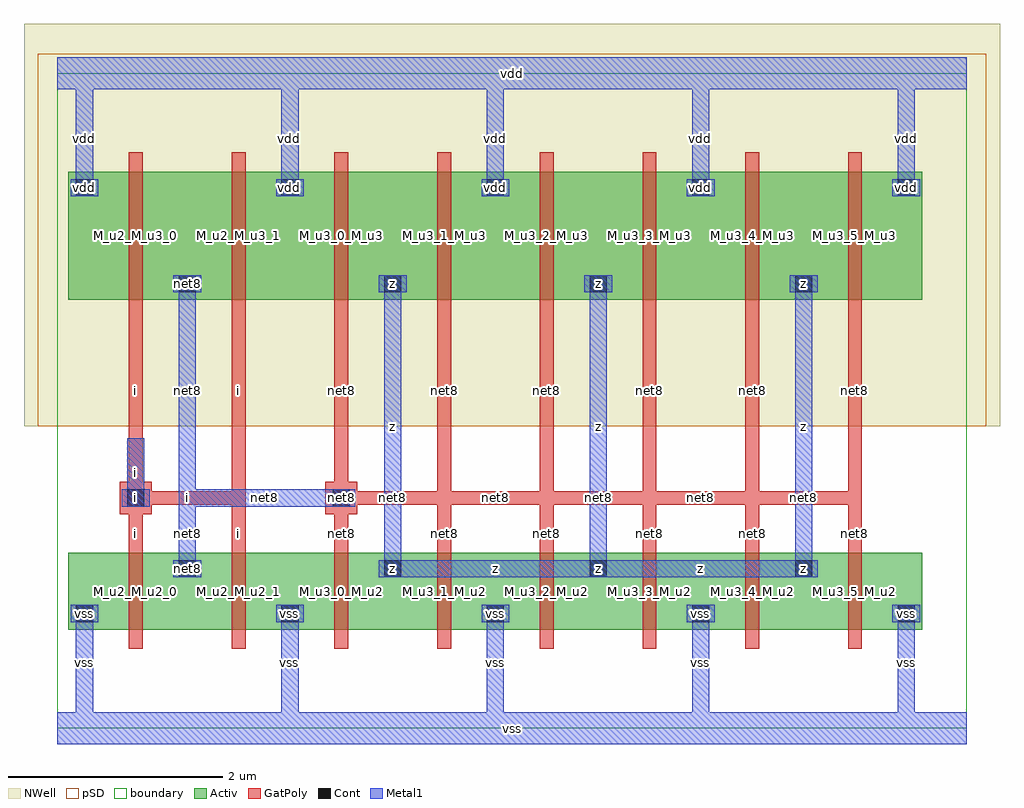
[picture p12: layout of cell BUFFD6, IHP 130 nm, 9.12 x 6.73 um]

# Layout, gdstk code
import gdstk
lib = gdstk.Library(unit=1e-6, precision=1e-09)
def R(c, l, rs):  # rectangles x0, y0, x1, y1
    for r in rs: c.add(gdstk.rectangle(r[:2], r[2:], *l))
def A(c, l, x, y, w, h, nx, ny, dx, dy):  # array of equal rectangles
    R(c, l, [(x+i*dx, y+j*dy, x+i*dx+w, y+j*dy+h) for i in range(nx) for j in range(ny)])
Activ = (1, 0)
GatPoly = (5, 0)
Cont = (6, 0)
Metal1 = (8, 0)
pSD = (14, 0)
NWell = (31, 0)
TEXT = (63, 0)
boundary = (189, 4)

buffd6 = lib.new_cell('BUFFD6')
A(buffd6, Activ, 0.105, 0.92, 1.26, 0.72, 8, 1, 0.96, 0)
A(buffd6, Activ, 0.105, 0.92, 0.3, 0.3, 5, 2, 1.92, 3.98)
A(buffd6, Activ, 1.065, 1.34, 0.3, 0.3, 4, 2, 1.92, 2.66)
A(buffd6, Activ, 0.105, 4, 1.26, 1.2, 8, 1, 0.96, 0)
A(buffd6, GatPoly, 0.67, 0.74, 0.13, 1.08, 8, 1, 0.96, 0)
A(buffd6, GatPoly, 0.67, 1.425, 0.13, 0.79, 8, 1, 0.96, 0)
A(buffd6, GatPoly, 0.67, 2.085, 0.13, 2.13, 8, 1, 0.96, 0)
A(buffd6, GatPoly, 2.59, 2.085, 1.09, 0.13, 5, 1, 0.96, 0)
A(buffd6, GatPoly, 0.67, 3.82, 0.13, 1.56, 8, 1, 0.96, 0)
R(buffd6, GatPoly, [(0.585,2,0.885,2.3), (2.505,2,2.805,2.3), (0.67,2.085,1.76,2.215)])
A(buffd6, Cont, 0.175, 0.99, 0.16, 0.16, 5, 2, 1.92, 3.98)
A(buffd6, Cont, 1.135, 1.41, 0.16, 0.16, 4, 2, 1.92, 2.66)
R(buffd6, Cont, [(0.655,2.07,0.815,2.23), (2.575,2.07,2.735,2.23)])
A(buffd6, Metal1, 0.175, 0.07, 0.16, 1.08, 5, 2, 1.92, 4.9)
A(buffd6, Metal1, 0.125, 0.99, 0.26, 0.16, 5, 2, 1.92, 3.98)
A(buffd6, Metal1, 1.085, 1.41, 0.26, 0.16, 4, 2, 1.92, 2.66)
A(buffd6, Metal1, 3.055, 1.41, 0.16, 2.82, 3, 1, 1.92, 0)
R(buffd6, Metal1, [(0,-0.15,8.5,0.15), (1.135,1.41,1.295,2.23), (3.055,1.41,5.135,1.57), (4.975,1.41,7.055,1.57), (0.605,2.07,0.865,2.23), (0.655,2.07,0.815,2.71), (1.135,2.07,2.735,2.23), (1.135,2.07,1.295,4.23), (2.525,2.07,2.785,2.23), (0,5.97,8.5,6.27)])
R(buffd6, pSD, [(-0.18,2.82,8.68,5.94), (-0.18,5.94,8.68,6.3)])
R(buffd6, NWell, [(-0.31,2.82,8.81,6.58)])
R(buffd6, boundary, [(0,0,8.5,6.12)])
buffd6.add(gdstk.FlexPath([(0.105,0.41),(8.085,0.41)], 0, ends="flush", simple_path=True, layer=63, datatype=0))  # TEXT
buffd6.add(gdstk.FlexPath([(0.105,1.07),(8.085,1.07)], 0, ends="flush", simple_path=True, layer=63, datatype=0))  # TEXT
buffd6.add(gdstk.FlexPath([(0.105,1.49),(8.085,1.49)], 0, ends="flush", simple_path=True, layer=63, datatype=0))  # TEXT
buffd6.add(gdstk.FlexPath([(0.105,2.15),(8.085,2.15)], 0, ends="flush", simple_path=True, layer=63, datatype=0))  # TEXT
buffd6.add(gdstk.FlexPath([(0.105,2.63),(8.085,2.63)], 0, ends="flush", simple_path=True, layer=63, datatype=0))  # TEXT
buffd6.add(gdstk.FlexPath([(0.105,3.11),(8.085,3.11)], 0, ends="flush", simple_path=True, layer=63, datatype=0))  # TEXT
buffd6.add(gdstk.FlexPath([(0.105,4.15),(8.085,4.15)], 0, ends="flush", simple_path=True, layer=63, datatype=0))  # TEXT
buffd6.add(gdstk.FlexPath([(0.105,4.71),(8.085,4.71)], 0, ends="flush", simple_path=True, layer=63, datatype=0))  # TEXT
buffd6.add(gdstk.FlexPath([(0.105,5.05),(8.085,5.05)], 0, ends="flush", simple_path=True, layer=63, datatype=0))  # TEXT
buffd6.add(gdstk.FlexPath([(0.105,5.71),(8.085,5.71)], 0, ends="flush", simple_path=True, layer=63, datatype=0))  # TEXT
buffd6.add(gdstk.FlexPath([(0.255,0.07),(0.255,6.05)], 0, ends="flush", simple_path=True, layer=63, datatype=0))  # TEXT
buffd6.add(gdstk.FlexPath([(0.735,0.07),(0.735,6.05)], 0, ends="flush", simple_path=True, layer=63, datatype=0))  # TEXT
buffd6.add(gdstk.FlexPath([(1.215,0.07),(1.215,6.05)], 0, ends="flush", simple_path=True, layer=63, datatype=0))  # TEXT
buffd6.add(gdstk.FlexPath([(1.695,0.07),(1.695,6.05)], 0, ends="flush", simple_path=True, layer=63, datatype=0))  # TEXT
buffd6.add(gdstk.FlexPath([(2.175,0.07),(2.175,6.05)], 0, ends="flush", simple_path=True, layer=63, datatype=0))  # TEXT
buffd6.add(gdstk.FlexPath([(2.655,0.07),(2.655,6.05)], 0, ends="flush", simple_path=True, layer=63, datatype=0))  # TEXT
buffd6.add(gdstk.FlexPath([(3.135,0.07),(3.135,6.05)], 0, ends="flush", simple_path=True, layer=63, datatype=0))  # TEXT
buffd6.add(gdstk.FlexPath([(3.615,0.07),(3.615,6.05)], 0, ends="flush", simple_path=True, layer=63, datatype=0))  # TEXT
buffd6.add(gdstk.FlexPath([(4.095,0.07),(4.095,6.05)], 0, ends="flush", simple_path=True, layer=63, datatype=0))  # TEXT
buffd6.add(gdstk.FlexPath([(4.575,0.07),(4.575,6.05)], 0, ends="flush", simple_path=True, layer=63, datatype=0))  # TEXT
buffd6.add(gdstk.FlexPath([(5.055,0.07),(5.055,6.05)], 0, ends="flush", simple_path=True, layer=63, datatype=0))  # TEXT
buffd6.add(gdstk.FlexPath([(5.535,0.07),(5.535,6.05)], 0, ends="flush", simple_path=True, layer=63, datatype=0))  # TEXT
buffd6.add(gdstk.FlexPath([(6.015,0.07),(6.015,6.05)], 0, ends="flush", simple_path=True, layer=63, datatype=0))  # TEXT
buffd6.add(gdstk.FlexPath([(6.495,0.07),(6.495,6.05)], 0, ends="flush", simple_path=True, layer=63, datatype=0))  # TEXT
buffd6.add(gdstk.FlexPath([(6.975,0.07),(6.975,6.05)], 0, ends="flush", simple_path=True, layer=63, datatype=0))  # TEXT
buffd6.add(gdstk.FlexPath([(7.455,0.07),(7.455,6.05)], 0, ends="flush", simple_path=True, layer=63, datatype=0))  # TEXT
buffd6.add(gdstk.FlexPath([(7.935,0.07),(7.935,6.05)], 0, ends="flush", simple_path=True, layer=63, datatype=0))  # TEXT
buffd6.add(gdstk.Label('net8', (1.215,1.49), layer=6, texttype=0))
buffd6.add(gdstk.Label('net8', (1.215,4.15), layer=6, texttype=0))
buffd6.add(gdstk.Label('net8', (2.655,2.15), layer=6, texttype=0))
buffd6.add(gdstk.Label('i', (0.735,2.15), layer=6, texttype=0))
buffd6.add(gdstk.Label('z', (3.135,1.49), layer=6, texttype=0))
buffd6.add(gdstk.Label('z', (5.055,1.49), layer=6, texttype=0))
buffd6.add(gdstk.Label('z', (6.975,1.49), layer=6, texttype=0))
buffd6.add(gdstk.Label('z', (3.135,4.15), layer=6, texttype=0))
buffd6.add(gdstk.Label('z', (5.055,4.15), layer=6, texttype=0))
buffd6.add(gdstk.Label('z', (6.975,4.15), layer=6, texttype=0))
buffd6.add(gdstk.Label('vss', (0.255,1.07), layer=6, texttype=0))
buffd6.add(gdstk.Label('vss', (2.175,1.07), layer=6, texttype=0))
buffd6.add(gdstk.Label('vss', (4.095,1.07), layer=6, texttype=0))
buffd6.add(gdstk.Label('vss', (6.015,1.07), layer=6, texttype=0))
buffd6.add(gdstk.Label('vss', (7.935,1.07), layer=6, texttype=0))
buffd6.add(gdstk.Label('vdd', (0.255,5.05), layer=6, texttype=0))
buffd6.add(gdstk.Label('vdd', (2.175,5.05), layer=6, texttype=0))
buffd6.add(gdstk.Label('vdd', (4.095,5.05), layer=6, texttype=0))
buffd6.add(gdstk.Label('vdd', (6.015,5.05), layer=6, texttype=0))
buffd6.add(gdstk.Label('vdd', (7.935,5.05), layer=6, texttype=0))
buffd6.add(gdstk.Label('net8', (1.215,1.49), layer=8, texttype=0))
buffd6.add(gdstk.Label('net8', (1.215,4.15), layer=8, texttype=0))
buffd6.add(gdstk.Label('net8', (1.215,1.82), layer=8, texttype=0))
buffd6.add(gdstk.Label('net8', (1.935,2.15), layer=8, texttype=0))
buffd6.add(gdstk.Label('net8', (2.655,2.15), layer=8, texttype=0))
buffd6.add(gdstk.Label('net8', (1.215,3.15), layer=8, texttype=0))
buffd6.add(gdstk.Label('vss', (0.255,1.07), layer=8, texttype=0))
buffd6.add(gdstk.Label('vss', (0.255,0.61), layer=8, texttype=0))
buffd6.add(gdstk.Label('vss', (2.175,1.07), layer=8, texttype=0))
buffd6.add(gdstk.Label('vss', (2.175,0.61), layer=8, texttype=0))
buffd6.add(gdstk.Label('vss', (4.095,1.07), layer=8, texttype=0))
buffd6.add(gdstk.Label('vss', (4.095,0.61), layer=8, texttype=0))
buffd6.add(gdstk.Label('vss', (6.015,1.07), layer=8, texttype=0))
buffd6.add(gdstk.Label('vss', (6.015,0.61), layer=8, texttype=0))
buffd6.add(gdstk.Label('vss', (7.935,1.07), layer=8, texttype=0))
buffd6.add(gdstk.Label('vss', (7.935,0.61), layer=8, texttype=0))
buffd6.add(gdstk.Label('vdd', (0.255,5.05), layer=8, texttype=0))
buffd6.add(gdstk.Label('vdd', (0.255,5.51), layer=8, texttype=0))
buffd6.add(gdstk.Label('vdd', (2.175,5.05), layer=8, texttype=0))
buffd6.add(gdstk.Label('vdd', (2.175,5.51), layer=8, texttype=0))
buffd6.add(gdstk.Label('vdd', (4.095,5.05), layer=8, texttype=0))
buffd6.add(gdstk.Label('vdd', (4.095,5.51), layer=8, texttype=0))
buffd6.add(gdstk.Label('vdd', (6.015,5.05), layer=8, texttype=0))
buffd6.add(gdstk.Label('vdd', (6.015,5.51), layer=8, texttype=0))
buffd6.add(gdstk.Label('vdd', (7.935,5.05), layer=8, texttype=0))
buffd6.add(gdstk.Label('vdd', (7.935,5.51), layer=8, texttype=0))
buffd6.add(gdstk.Label('i', (0.735,2.15), layer=8, texttype=2))
buffd6.add(gdstk.Label('i', (0.735,2.39), layer=8, texttype=2))
buffd6.add(gdstk.Label('z', (3.135,1.49), layer=8, texttype=2))
buffd6.add(gdstk.Label('z', (5.055,1.49), layer=8, texttype=2))
buffd6.add(gdstk.Label('z', (6.975,1.49), layer=8, texttype=2))
buffd6.add(gdstk.Label('z', (3.135,4.15), layer=8, texttype=2))
buffd6.add(gdstk.Label('z', (5.055,4.15), layer=8, texttype=2))
buffd6.add(gdstk.Label('z', (6.975,4.15), layer=8, texttype=2))
buffd6.add(gdstk.Label('z', (4.095,1.49), layer=8, texttype=2))
buffd6.add(gdstk.Label('z', (6.015,1.49), layer=8, texttype=2))
buffd6.add(gdstk.Label('z', (3.135,2.82), layer=8, texttype=2))
buffd6.add(gdstk.Label('z', (5.055,2.82), layer=8, texttype=2))
buffd6.add(gdstk.Label('z', (6.975,2.82), layer=8, texttype=2))
buffd6.add(gdstk.Label('vss', (4.25,0), layer=8, texttype=2))
buffd6.add(gdstk.Label('vdd', (4.25,6.12), layer=8, texttype=2))
buffd6.add(gdstk.Label('i', (0.735,2.15), layer=8, texttype=2))
buffd6.add(gdstk.Label('i', (0.735,2.39), layer=8, texttype=2))
buffd6.add(gdstk.Label('z', (3.135,1.49), layer=8, texttype=2))
buffd6.add(gdstk.Label('z', (5.055,1.49), layer=8, texttype=2))
buffd6.add(gdstk.Label('z', (6.975,1.49), layer=8, texttype=2))
buffd6.add(gdstk.Label('z', (3.135,4.15), layer=8, texttype=2))
buffd6.add(gdstk.Label('z', (5.055,4.15), layer=8, texttype=2))
buffd6.add(gdstk.Label('z', (6.975,4.15), layer=8, texttype=2))
buffd6.add(gdstk.Label('z', (4.095,1.49), layer=8, texttype=2))
buffd6.add(gdstk.Label('z', (6.015,1.49), layer=8, texttype=2))
buffd6.add(gdstk.Label('z', (3.135,2.82), layer=8, texttype=2))
buffd6.add(gdstk.Label('z', (5.055,2.82), layer=8, texttype=2))
buffd6.add(gdstk.Label('z', (6.975,2.82), layer=8, texttype=2))
buffd6.add(gdstk.Label('vss', (4.25,0), layer=8, texttype=2))
buffd6.add(gdstk.Label('vdd', (4.25,6.12), layer=8, texttype=2))
buffd6.add(gdstk.Label('M_u2_M_u2_0', (0.735,1.28), layer=1, texttype=0))
buffd6.add(gdstk.Label('M_u2_M_u2_1', (1.695,1.28), layer=1, texttype=0))
buffd6.add(gdstk.Label('M_u3_0_M_u2', (2.655,1.28), layer=1, texttype=0))
buffd6.add(gdstk.Label('M_u3_1_M_u2', (3.615,1.28), layer=1, texttype=0))
buffd6.add(gdstk.Label('M_u3_2_M_u2', (4.575,1.28), layer=1, texttype=0))
buffd6.add(gdstk.Label('M_u3_3_M_u2', (5.535,1.28), layer=1, texttype=0))
buffd6.add(gdstk.Label('M_u3_4_M_u2', (6.495,1.28), layer=1, texttype=0))
buffd6.add(gdstk.Label('M_u3_5_M_u2', (7.455,1.28), layer=1, texttype=0))
buffd6.add(gdstk.Label('M_u2_M_u3_0', (0.735,4.6), layer=1, texttype=0))
buffd6.add(gdstk.Label('M_u2_M_u3_1', (1.695,4.6), layer=1, texttype=0))
buffd6.add(gdstk.Label('M_u3_0_M_u3', (2.655,4.6), layer=1, texttype=0))
buffd6.add(gdstk.Label('M_u3_1_M_u3', (3.615,4.6), layer=1, texttype=0))
buffd6.add(gdstk.Label('M_u3_2_M_u3', (4.575,4.6), layer=1, texttype=0))
buffd6.add(gdstk.Label('M_u3_3_M_u3', (5.535,4.6), layer=1, texttype=0))
buffd6.add(gdstk.Label('M_u3_4_M_u3', (6.495,4.6), layer=1, texttype=0))
buffd6.add(gdstk.Label('M_u3_5_M_u3', (7.455,4.6), layer=1, texttype=0))
buffd6.add(gdstk.Label('net8', (1.215,1.49), layer=1, texttype=0))
buffd6.add(gdstk.Label('net8', (1.215,4.15), layer=1, texttype=0))
buffd6.add(gdstk.Label('z', (3.135,1.49), layer=1, texttype=0))
buffd6.add(gdstk.Label('z', (5.055,1.49), layer=1, texttype=0))
buffd6.add(gdstk.Label('z', (6.975,1.49), layer=1, texttype=0))
buffd6.add(gdstk.Label('z', (3.135,4.15), layer=1, texttype=0))
buffd6.add(gdstk.Label('z', (5.055,4.15), layer=1, texttype=0))
buffd6.add(gdstk.Label('z', (6.975,4.15), layer=1, texttype=0))
buffd6.add(gdstk.Label('vss', (0.255,1.07), layer=1, texttype=0))
buffd6.add(gdstk.Label('vss', (2.175,1.07), layer=1, texttype=0))
buffd6.add(gdstk.Label('vss', (4.095,1.07), layer=1, texttype=0))
buffd6.add(gdstk.Label('vss', (6.015,1.07), layer=1, texttype=0))
buffd6.add(gdstk.Label('vss', (7.935,1.07), layer=1, texttype=0))
buffd6.add(gdstk.Label('vdd', (0.255,5.05), layer=1, texttype=0))
buffd6.add(gdstk.Label('vdd', (2.175,5.05), layer=1, texttype=0))
buffd6.add(gdstk.Label('vdd', (4.095,5.05), layer=1, texttype=0))
buffd6.add(gdstk.Label('vdd', (6.015,5.05), layer=1, texttype=0))
buffd6.add(gdstk.Label('vdd', (7.935,5.05), layer=1, texttype=0))
buffd6.add(gdstk.Label('i', (0.735,2.15), layer=8, texttype=25))
buffd6.add(gdstk.Label('i', (0.735,2.39), layer=8, texttype=25))
buffd6.add(gdstk.Label('z', (3.135,1.49), layer=8, texttype=25))
buffd6.add(gdstk.Label('z', (5.055,1.49), layer=8, texttype=25))
buffd6.add(gdstk.Label('z', (6.975,1.49), layer=8, texttype=25))
buffd6.add(gdstk.Label('z', (3.135,4.15), layer=8, texttype=25))
buffd6.add(gdstk.Label('z', (5.055,4.15), layer=8, texttype=25))
buffd6.add(gdstk.Label('z', (6.975,4.15), layer=8, texttype=25))
buffd6.add(gdstk.Label('z', (4.095,1.49), layer=8, texttype=25))
buffd6.add(gdstk.Label('z', (6.015,1.49), layer=8, texttype=25))
buffd6.add(gdstk.Label('z', (3.135,2.82), layer=8, texttype=25))
buffd6.add(gdstk.Label('z', (5.055,2.82), layer=8, texttype=25))
buffd6.add(gdstk.Label('z', (6.975,2.82), layer=8, texttype=25))
buffd6.add(gdstk.Label('vss', (4.25,0), layer=8, texttype=25))
buffd6.add(gdstk.Label('vdd', (4.25,6.12), layer=8, texttype=25))
buffd6.add(gdstk.Label('net8', (2.655,2.15), layer=5, texttype=0))
buffd6.add(gdstk.Label('net8', (2.655,1.82), layer=5, texttype=0))
buffd6.add(gdstk.Label('net8', (3.135,2.15), layer=5, texttype=0))
buffd6.add(gdstk.Label('net8', (3.615,1.82), layer=5, texttype=0))
buffd6.add(gdstk.Label('net8', (4.095,2.15), layer=5, texttype=0))
buffd6.add(gdstk.Label('net8', (4.575,1.82), layer=5, texttype=0))
buffd6.add(gdstk.Label('net8', (5.055,2.15), layer=5, texttype=0))
buffd6.add(gdstk.Label('net8', (5.535,1.82), layer=5, texttype=0))
buffd6.add(gdstk.Label('net8', (6.015,2.15), layer=5, texttype=0))
buffd6.add(gdstk.Label('net8', (6.495,1.82), layer=5, texttype=0))
buffd6.add(gdstk.Label('net8', (6.975,2.15), layer=5, texttype=0))
buffd6.add(gdstk.Label('net8', (7.455,1.82), layer=5, texttype=0))
buffd6.add(gdstk.Label('net8', (2.655,3.15), layer=5, texttype=0))
buffd6.add(gdstk.Label('net8', (3.615,3.15), layer=5, texttype=0))
buffd6.add(gdstk.Label('net8', (4.575,3.15), layer=5, texttype=0))
buffd6.add(gdstk.Label('net8', (5.535,3.15), layer=5, texttype=0))
buffd6.add(gdstk.Label('net8', (6.495,3.15), layer=5, texttype=0))
buffd6.add(gdstk.Label('net8', (7.455,3.15), layer=5, texttype=0))
buffd6.add(gdstk.Label('i', (0.735,1.82), layer=5, texttype=0))
buffd6.add(gdstk.Label('i', (1.215,2.15), layer=5, texttype=0))
buffd6.add(gdstk.Label('i', (1.695,1.82), layer=5, texttype=0))
buffd6.add(gdstk.Label('i', (0.735,3.15), layer=5, texttype=0))
buffd6.add(gdstk.Label('i', (1.695,3.15), layer=5, texttype=0))
buffd6.add(gdstk.Label('i', (0.735,2.15), layer=5, texttype=0))

lib.write_gds('BUFFD6.gds')
